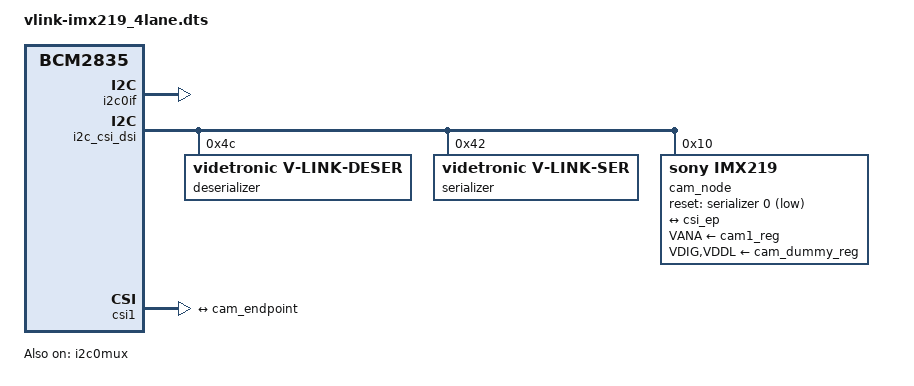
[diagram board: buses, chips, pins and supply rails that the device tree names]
// SPDX-License-Identifier: GPL-2.0-only
// Definitions for IMX219 camera module over v-link utilizing 4 mipi-csi lanes on both deserializer and serializer.
/dts-v1/;
/plugin/;

/{
	compatible = "brcm,bcm2835";
	
	fragment@0 {
		target = <&i2c0if>;
		__overlay__ {
			status = "okay";
		};
	};
	
	clk_frag: fragment@1 {
		target = <&cam1_clk>;
		__overlay__ {
			status = "okay";
			clock-frequency = <24000000>;
		};
	};
	
	fragment@2 {
		target = <&i2c0mux>;
		__overlay__ {
			status = "okay";
		};
	};
	
	i2c_frag: fragment@100 {
		target = <&i2c_csi_dsi>;
		__overlay__ {
			#address-cells = <1>;
			#size-cells = <0>;
			status = "okay";
			
			deserializer: vlink-deser@4C {
				status = "okay";
				compatible = "videtronic,v-link-deser";
				reg = <0x4C>;
				data-lanes = <1 2 3 4>;
				link-frequency = /bits/ 64 <500000000>;
			};
				
			serializer: vlink-ser@42 {
				status = "okay";
				compatible = "videtronic,v-link-ser";
				reg = <0x42>;
				gpio-controller;
				#gpio-cells = <2>;
				#clock-cells = <0>;
				data-lanes = <1 2 3 4>;
			};
							
			cam_node: imx219@10 {
				compatible = "sony,imx219";
				reg = <0x10>;
				status = "okay";
				
				clocks = <&cam1_clk>;
				clock-names = "xclk";
				
				VANA-supply = <&cam1_reg>;	/* 2.8v */
				VDIG-supply = <&cam_dummy_reg>;	/* 1.8v */
				VDDL-supply = <&cam_dummy_reg>;	/* 1.2v */
				
				rotation = <180>;
				orientation = <2>;
				
				reset-gpios = <&serializer 0 1>;
				
				port {
					cam_endpoint: endpoint {
						clock-lanes = <0>;
						data-lanes = <1 2 3 4>;
						clock-noncontinuous;
						link-frequencies =
						/bits/ 64 <364000000>;
					};
				};
			};
			
			vcm: ad5398@c {
				compatible = "adi,ad5398";
				reg = <0x0c>;
				status = "disabled";
				VANA-supply = <&cam1_reg>;
			};
		};
	};
	
	csi_frag: fragment@101 {
		target = <&csi1>;
		csi: __overlay__ {
			status = "okay";
			brcm,media-controller;
			
			port {
				csi_ep: endpoint {
					remote-endpoint = <&cam_endpoint>;
					clock-lanes = <0>;
					data-lanes = <1 2 3 4>;
					clock-noncontinuous;
				};
			};
		};
	};
	
	__overrides__ {
		rotation = <&cam_node>,"rotation:0";
		orientation = <&cam_node>,"orientation:0";
		media-controller = <&csi>,"brcm,media-controller?";
		cam0 = <&i2c_frag>, "target:0=",<&i2c_csi_dsi0>,
		<&csi_frag>, "target:0=",<&csi0>,
		<&clk_frag>, "target:0=",<&cam0_clk>,
		<&cam_node>, "clocks:0=",<&cam0_clk>,
		<&cam_node>, "VANA-supply:0=",<&cam0_reg>,
		<&vcm>, "VANA-supply:0=", <&cam0_reg>;
		vcm = <&vcm>, "status=okay",
		<&cam_node>,"lens-focus:0=", <&vcm>;
	};
};

&cam_node {
	status = "okay";
};

&cam_endpoint {
	remote-endpoint = <&csi_ep>;
};
